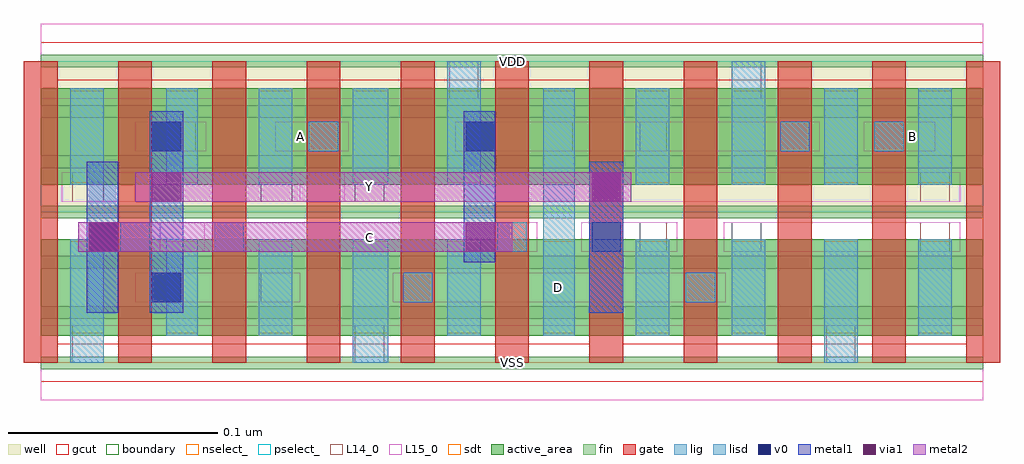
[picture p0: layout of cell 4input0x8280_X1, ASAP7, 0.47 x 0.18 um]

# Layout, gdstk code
import gdstk
lib = gdstk.Library(unit=1e-6, precision=1e-09)
def R(c, l, rs):  # rectangles x0, y0, x1, y1
    for r in rs: c.add(gdstk.rectangle(r[:2], r[2:], *l))
def A(c, l, x, y, w, h, nx, ny, dx, dy):  # array of equal rectangles
    R(c, l, [(x+i*dx, y+j*dy, x+i*dx+w, y+j*dy+h) for i in range(nx) for j in range(ny)])
def P(c, l, *ps):  # polygons
    for p in ps: c.add(gdstk.Polygon(p, *l))
well = (1, 0)
fin = (2, 0)
gate = (7, 0)
gcut = (10, 0)
active_area = (11, 0)
nselect_ = (12, 0)
pselect_ = (13, 0)
L14_0 = (14, 0)
L15_0 = (15, 0)
lig = (16, 0)
lisd = (17, 0)
v0 = (18, 0)
metal1 = (19, 0)
metal2 = (20, 0)
via1 = (21, 0)
sdt = (88, 0)
boundary = (100, 0)

c_4input0x8280_x1 = lib.new_cell('4input0x8280_X1')
R(c_4input0x8280_x1, well, [(0,0.072,0.45,0.144)])
A(c_4input0x8280_x1, fin, 0, -0.003, 0.45, 0.006, 1, 7, 0, 0.024)
A(c_4input0x8280_x1, gate, -0.008, 0, 0.016, 0.144, 11, 1, 0.045, 0)
P(c_4input0x8280_x1, gcut, [(0,-0.009),(0,0),(-0.008,0),(-0.008,0.135),(0.008,0.135),(0.008,0.009),(0.262,0.009),(0.262,0.135),(0.278,0.135),(0.278,0.009),(0.442,0.009),(0.442,0.135),(-0.008,0.135),(-0.008,0.144),(0,0.144),(0,0.153),(0.45,0.153),(0.45,0.144),(0.458,0.144),(0.458,0),(0.45,0),(0.45,-0.009)])
R(c_4input0x8280_x1, active_area, [(0,0.013,0.45,0.059), (0,0.085,0.45,0.131)])
R(c_4input0x8280_x1, nselect_, [(0,0,0.45,0.072)])
R(c_4input0x8280_x1, pselect_, [(0,0.072,0.45,0.144)])
R(c_4input0x8280_x1, L14_0, [(0.015,0,0.03,0.018), (0.15,0,0.164,0.018), (0.375,0,0.389,0.018), (0.105,0.029,0.12,0.043), (0.173,0.029,0.187,0.043), (0.308,0.029,0.322,0.043), (0.038,0.053,0.052,0.067), (0.083,0.053,0.097,0.067), (0.218,0.053,0.232,0.067), (0.286,0.053,0.299,0.067), (0.33,0.053,0.344,0.067), (0.42,0.053,0.434,0.067), (0.015,0.077,0.03,0.091), (0.105,0.077,0.12,0.091), (0.15,0.077,0.164,0.091), (0.42,0.077,0.434,0.091), (0.06,0.101,0.074,0.115), (0.128,0.101,0.142,0.115), (0.24,0.101,0.254,0.115), (0.286,0.101,0.299,0.115), (0.353,0.101,0.367,0.115), (0.398,0.101,0.412,0.115), (0.195,0.126,0.209,0.144), (0.33,0.126,0.344,0.144)])
R(c_4input0x8280_x1, L15_0, [(0,-0.018,0.45,0.018), (0.045,0.029,0.124,0.043), (0.168,0.029,0.327,0.043), (0.018,0.053,0.057,0.067), (0.078,0.053,0.237,0.067), (0.258,0.053,0.304,0.067), (0.326,0.053,0.439,0.067), (0.01,0.077,0.124,0.091), (0.145,0.077,0.439,0.091), (0.045,0.101,0.079,0.115), (0.112,0.101,0.147,0.115), (0.198,0.101,0.372,0.115), (0.393,0.101,0.427,0.115), (0,0.126,0.45,0.162)])
R(c_4input0x8280_x1, lig, [(0.173,0.029,0.187,0.043), (0.308,0.029,0.322,0.043), (0.038,0.053,0.052,0.067), (0.083,0.053,0.097,0.067), (0.218,0.053,0.232,0.067), (0.128,0.101,0.142,0.115), (0.353,0.101,0.367,0.115), (0.398,0.101,0.412,0.115)])
A(c_4input0x8280_x1, lisd, 0.104, 0.013, 0.016, 0.046, 3, 1, 0.09, 0)
R(c_4input0x8280_x1, lisd, [(0.014,0,0.03,0.059), (0.149,0,0.166,0.059), (0.374,0,0.39,0.059), (0.06,0.013,0.075,0.059), (0.24,0.013,0.255,0.131), (0.33,0.013,0.346,0.059), (0.419,0.013,0.435,0.059), (0.014,0.085,0.03,0.131), (0.06,0.085,0.075,0.131), (0.104,0.085,0.12,0.131), (0.149,0.085,0.166,0.131), (0.194,0.085,0.21,0.144), (0.284,0.085,0.3,0.131), (0.33,0.085,0.346,0.144), (0.374,0.085,0.39,0.131), (0.419,0.085,0.435,0.131)])
R(c_4input0x8280_x1, v0, [(0.053,0.029,0.067,0.043), (0.023,0.053,0.037,0.067), (0.263,0.053,0.277,0.067), (0.053,0.101,0.067,0.115), (0.203,0.101,0.217,0.115)])
R(c_4input0x8280_x1, metal1, [(0.022,0.024,0.037,0.096), (0.052,0.024,0.068,0.12), (0.262,0.024,0.278,0.096), (0.202,0.048,0.217,0.12)])
R(c_4input0x8280_x1, metal2, [(0.018,0.053,0.225,0.067), (0.045,0.077,0.282,0.091)])
R(c_4input0x8280_x1, via1, [(0.023,0.053,0.037,0.067), (0.203,0.053,0.217,0.067), (0.053,0.077,0.067,0.091), (0.263,0.077,0.277,0.091)])
A(c_4input0x8280_x1, sdt, 0.014, 0.014, 0.016, 0.044, 4, 2, 0.09, 0.072)
R(c_4input0x8280_x1, sdt, [(0.06,0.014,0.075,0.058), (0.149,0.014,0.166,0.058), (0.24,0.014,0.255,0.058), (0.33,0.014,0.346,0.058), (0.374,0.014,0.39,0.058), (0.419,0.014,0.435,0.058), (0.06,0.086,0.075,0.13), (0.149,0.086,0.166,0.13), (0.24,0.086,0.255,0.13), (0.33,0.086,0.346,0.13), (0.374,0.086,0.39,0.13), (0.419,0.086,0.435,0.13)])
R(c_4input0x8280_x1, boundary, [(0,0,0.45,0.144)])
c_4input0x8280_x1.add(gdstk.Label('C', (0.157,0.06), layer=15, texttype=251))
c_4input0x8280_x1.add(gdstk.Label('VSS', (0.225,0), layer=15, texttype=251))
c_4input0x8280_x1.add(gdstk.Label('VDD', (0.225,0.144), layer=15, texttype=251))
c_4input0x8280_x1.add(gdstk.Label('B', (0.416,0.108), layer=15, texttype=251))
c_4input0x8280_x1.add(gdstk.Label('VSS', (0.225,0), layer=15, texttype=251))
c_4input0x8280_x1.add(gdstk.Label('VDD', (0.225,0.144), layer=15, texttype=251))
c_4input0x8280_x1.add(gdstk.Label('D', (0.247,0.036), layer=15, texttype=251))
c_4input0x8280_x1.add(gdstk.Label('VSS', (0.225,0), layer=15, texttype=251))
c_4input0x8280_x1.add(gdstk.Label('VDD', (0.225,0.144), layer=15, texttype=251))
c_4input0x8280_x1.add(gdstk.Label('VSS', (0.225,0), layer=15, texttype=251))
c_4input0x8280_x1.add(gdstk.Label('VDD', (0.225,0.144), layer=15, texttype=251))
c_4input0x8280_x1.add(gdstk.Label('A', (0.124,0.108), layer=15, texttype=251))
c_4input0x8280_x1.add(gdstk.Label('VSS', (0.225,0), layer=15, texttype=251))
c_4input0x8280_x1.add(gdstk.Label('VDD', (0.225,0.144), layer=15, texttype=251))
c_4input0x8280_x1.add(gdstk.Label('VSS', (0.225,0), layer=3, texttype=251))
c_4input0x8280_x1.add(gdstk.Label('VSS', (0.225,0), layer=3, texttype=251))
c_4input0x8280_x1.add(gdstk.Label('VSS', (0.225,0), layer=3, texttype=251))
c_4input0x8280_x1.add(gdstk.Label('VSS', (0.225,0), layer=3, texttype=251))
c_4input0x8280_x1.add(gdstk.Label('VSS', (0.225,0), layer=3, texttype=251))
c_4input0x8280_x1.add(gdstk.Label('VDD', (0.225,0.144), layer=1, texttype=251))
c_4input0x8280_x1.add(gdstk.Label('VDD', (0.225,0.144), layer=1, texttype=251))
c_4input0x8280_x1.add(gdstk.Label('VDD', (0.225,0.144), layer=1, texttype=251))
c_4input0x8280_x1.add(gdstk.Label('VDD', (0.225,0.144), layer=1, texttype=251))
c_4input0x8280_x1.add(gdstk.Label('VDD', (0.225,0.144), layer=1, texttype=251))
c_4input0x8280_x1.add(gdstk.Label('Y', (0.157,0.084), layer=20, texttype=251))

lib.write_gds('4input0x8280_X1.gds')
